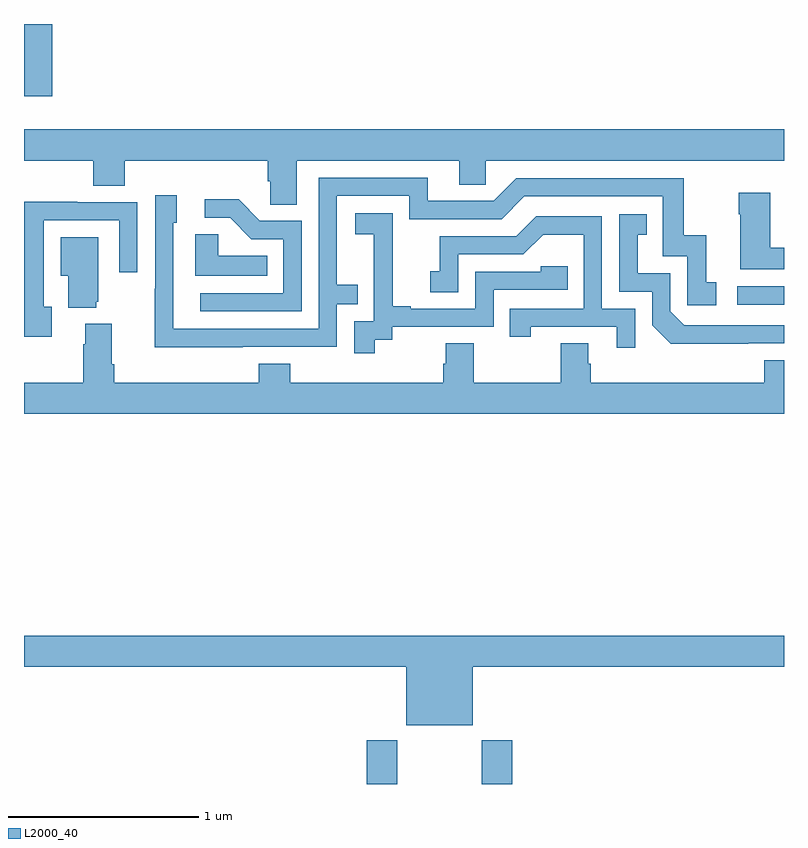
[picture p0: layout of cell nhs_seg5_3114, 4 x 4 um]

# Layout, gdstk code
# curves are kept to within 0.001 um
import gdstk
lib = gdstk.Library(unit=1e-6, precision=1e-09)
def R(c, l, rs):  # rectangles x0, y0, x1, y1
    for r in rs: c.add(gdstk.rectangle(r[:2], r[2:], *l))
def P(c, l, *ps):  # polygons
    for p in ps: c.add(gdstk.Polygon(p, *l))
L2000_40 = (2000, 40)

nhs_seg5_3114 = lib.new_cell('nhs_seg5_3114')
R(nhs_seg5_3114, L2000_40, [(292.805,866.799,292.965,867.028), (293.41,866.799,293.57,867.028), (294.753,869.322,295,869.418), (291,870.42,291.149,870.799)])
P(nhs_seg5_3114, L2000_40, [(292.435,870.08),(293.291,870.08),(293.291,869.953),(293.43,869.953),(293.43,870.08),(295,870.08),(295,870.244),(291,870.244),(291,870.08),(291.365,870.08),(291.365,869.947),(291.53,869.947),(291.53,870.08),(292.283,870.08),(292.283,869.971),(292.296,869.971),(292.296,869.848),(292.435,869.848)],
  [(292.151,869.1),(292.647,869.1),(292.647,869.325),(292.757,869.325),(292.757,869.426),(292.647,869.426),(292.647,869.895),(293.028,869.895),(293.028,869.772),(293.514,869.772),(293.634,869.892),(294.363,869.892),(294.363,869.577),(294.492,869.577),(294.492,869.319),(294.643,869.319),(294.643,869.439),(294.59,869.439),(294.59,869.686),(294.472,869.686),(294.472,869.988),(293.592,869.988),(293.472,869.868),(293.125,869.868),(293.125,869.991),(292.551,869.991),(292.551,869.196),(291.786,869.196),(291.786,869.754),(291.805,869.754),(291.805,869.899),(291.69,869.899),(291.69,869.405),(291.688,869.405),(291.688,869.099)],
  [(295,869.621),(294.928,869.621),(294.928,869.911),(294.763,869.911),(294.763,869.798),(294.77,869.798),(294.77,869.507),(295,869.507)],
  [(292.461,869.763),(292.242,869.763),(292.129,869.876),(291.951,869.876),(291.951,869.778),(292.085,869.778),(292.196,869.667),(292.365,869.667),(292.365,869.382),(291.927,869.382),(291.927,869.286),(292.461,869.286)],
  [(291.145,869.31),(291.105,869.31),(291.105,869.766),(291.501,869.766),(291.501,869.493),(291.597,869.493),(291.597,869.862),(291.281,869.862),(291.281,869.864),(291,869.864),(291,869.154),(291.145,869.154)],
  [(292.846,869.137),(292.938,869.137),(292.938,869.205),(293.472,869.205),(293.472,869.4),(293.861,869.4),(293.861,869.523),(293.721,869.523),(293.721,869.496),(293.376,869.496),(293.376,869.301),(293.035,869.301),(293.035,869.314),(292.94,869.314),(292.94,869.597),(292.941,869.597),(292.941,869.803),(292.743,869.803),(292.743,869.693),(292.841,869.693),(292.841,869.465),(292.842,869.465),(292.842,869.235),(292.737,869.235),(292.737,869.067),(292.846,869.067)],
  [(294.812,869.118),(295,869.118),(295,869.214),(294.474,869.214),(294.402,869.286),(294.402,869.487),(294.229,869.487),(294.229,869.691),(294.278,869.691),(294.278,869.797),(294.132,869.797),(294.132,869.391),(294.306,869.391),(294.306,869.214),(294.404,869.117)],
  [(294.216,869.301),(294.042,869.301),(294.042,869.787),(293.696,869.787),(293.591,869.682),(293.188,869.682),(293.188,869.497),(293.139,869.497),(293.139,869.388),(293.286,869.388),(293.286,869.586),(293.628,869.586),(293.732,869.69),(293.946,869.69),(293.946,869.301),(293.557,869.301),(293.557,869.154),(293.668,869.154),(293.668,869.205),(294.119,869.205),(294.119,869.094),(294.216,869.094)],
  [(292.28,869.578),(292.023,869.578),(292.023,869.693),(291.902,869.693),(291.902,869.474),(292.28,869.474)],
  [(291.38,869.337),(291.391,869.337),(291.391,869.677),(291.194,869.677),(291.194,869.474),(291.233,869.474),(291.233,869.306),(291.38,869.306)],
  [(295,869.029),(294.896,869.029),(294.896,868.912),(293.984,868.912),(293.984,869.01),(293.971,869.01),(293.971,869.12),(293.824,869.12),(293.824,868.912),(293.367,868.912),(293.367,869.12),(293.219,869.12),(293.219,869.01),(293.207,869.01),(293.207,868.912),(292.4,868.912),(292.4,869.011),(292.235,869.011),(292.235,868.912),(291.476,868.912),(291.476,869.008),(291.463,869.008),(291.463,869.221),(291.323,869.221),(291.323,869.114),(291.311,869.114),(291.311,868.912),(291,868.912),(291,868.748),(295,868.748)],
  [(293.362,867.416),(295,867.416),(295,867.58),(291,867.58),(291,867.416),(293.012,867.416),(293.012,867.107),(293.362,867.107)])

lib.write_gds('nhs_seg5_3114.gds')
